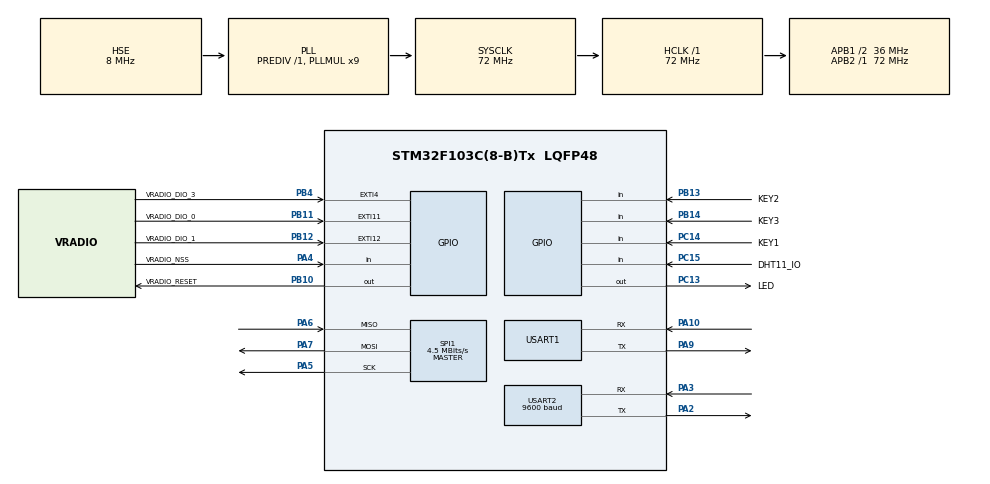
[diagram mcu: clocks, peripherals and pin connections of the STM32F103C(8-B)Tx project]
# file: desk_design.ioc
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Dma.Request0=USART2_RX
Dma.USART2_RX.0.Direction=DMA_PERIPH_TO_MEMORY
Dma.USART2_RX.0.Instance=DMA1_Channel6
Dma.USART2_RX.0.MemDataAlignment=DMA_MDATAALIGN_BYTE
Dma.USART2_RX.0.MemInc=DMA_MINC_ENABLE
Dma.USART2_RX.0.Mode=DMA_NORMAL
Dma.USART2_RX.0.PeriphDataAlignment=DMA_PDATAALIGN_BYTE
Dma.USART2_RX.0.PeriphInc=DMA_PINC_DISABLE
Dma.USART2_RX.0.Priority=DMA_PRIORITY_LOW
Mcu.Family=STM32F1
Mcu.Name=STM32F103C(8-B)Tx
Mcu.Package=LQFP48
NVIC.DMA1_Channel6_IRQn=true\:0\:0\:false\:false\:true\:false\:true\:true
NVIC.EXTI15_10_IRQn=true\:0\:0\:false\:false\:true\:true\:true\:true
NVIC.PriorityGroup=NVIC_PRIORITYGROUP_1
NVIC.TIM4_IRQn=true\:0\:0\:false\:false\:true\:true\:true\:true
NVIC.USART1_IRQn=true\:0\:0\:false\:false\:true\:false\:true\:true
NVIC.USART2_IRQn=true\:0\:0\:false\:false\:true\:true\:true\:true
PA10.Mode=Asynchronous
PA10.Signal=USART1_RX
PA13.Mode=Serial_Wire
PA13.Signal=SYS_JTMS-SWDIO
PA14.Mode=Serial_Wire
PA14.Signal=SYS_JTCK-SWCLK
PA2.Mode=Asynchronous
PA2.Signal=USART2_TX
PA3.Mode=Asynchronous
PA3.Signal=USART2_RX
PA4.GPIO_Label=VRADIO_NSS
PA4.Signal=GPIO_Input
PA5.Mode=Full_Duplex_Master
PA5.Signal=SPI1_SCK
PA6.Mode=Full_Duplex_Master
PA6.Signal=SPI1_MISO
PA7.Mode=Full_Duplex_Master
PA7.Signal=SPI1_MOSI
PA9.Mode=Asynchronous
PA9.Signal=USART1_TX
PB10.GPIO_Label=VRADIO_RESET
PB10.Signal=GPIO_Output
PB11.GPIO_Label=VRADIO_DIO_0
PB11.Signal=GPXTI11
PB12.GPIO_Label=VRADIO_DIO_1
PB12.Signal=GPXTI12
PB13.GPIO_Label=KEY2
PB13.Signal=GPIO_Input
PB14.GPIO_Label=KEY3
PB14.Signal=GPIO_Input
PB4.GPIO_Label=VRADIO_DIO_3
PB4.Signal=GPXTI4
PC13-TAMPER-RTC.GPIO_Label=LED
PC13-TAMPER-RTC.Signal=GPIO_Output
PC14-OSC32_IN.GPIO_Label=KEY1
PC14-OSC32_IN.GPIO_PuPd=GPIO_PULLUP
PC14-OSC32_IN.Signal=GPIO_Input
PC15-OSC32_OUT.GPIO_Label=DHT11_IO
PC15-OSC32_OUT.GPIO_PuPd=GPIO_PULLUP
PC15-OSC32_OUT.Signal=GPIO_Input
PD0-OSC_IN.Mode=HSE-External-Oscillator
PD0-OSC_IN.Signal=RCC_OSC_IN
PD1-OSC_OUT.Mode=HSE-External-Oscillator
PD1-OSC_OUT.Signal=RCC_OSC_OUT
ProjectManager.HeapSize=0x200
ProjectManager.StackSize=0x400
ProjectManager.TargetToolchain=MDK-ARM V5.32
RCC.AHBFreq_Value=72000000
RCC.APB1CLKDivider=RCC_HCLK_DIV2
RCC.APB1Freq_Value=36000000
RCC.APB1TimFreq_Value=72000000
RCC.APB2Freq_Value=72000000
RCC.APB2TimFreq_Value=72000000
RCC.HCLKFreq_Value=72000000
RCC.PLLMUL=RCC_PLL_MUL9
RCC.PLLSourceVirtual=RCC_PLLSOURCE_HSE
RCC.SYSCLKFreq_VALUE=72000000
RCC.SYSCLKSource=RCC_SYSCLKSOURCE_PLLCLK
RCC.USBFreq_Value=72000000
SPI1.BaudRatePrescaler=SPI_BAUDRATEPRESCALER_16
SPI1.CalculateBaudRate=4.5 MBits/s
SPI1.Direction=SPI_DIRECTION_2LINES
SPI1.Mode=SPI_MODE_MASTER
SPI1.VirtualType=VM_MASTER
TIM4.Prescaler=71
USART1.VirtualMode=VM_ASYNC
USART2.BaudRate=9600
USART2.VirtualMode=VM_ASYNC
VP_TIM4_VS_ClockSourceINT.Mode=Internal
board=custom

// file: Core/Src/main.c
/* USER CODE BEGIN Header */
/**
  ******************************************************************************
  * @file           : main.c
  * @brief          : Main program body
  ******************************************************************************
  * @attention
  *
  * Copyright (c) 2024 STMicroelectronics.
  * All rights reserved.
  *
  * This software is licensed under terms that can be found in the LICENSE file
  * in the root directory of this software component.
  * If no LICENSE file comes with this software, it is provided AS-IS.
  *
  ******************************************************************************
  */
/* USER CODE END Header */
#include "main.h"

/* USER CODE BEGIN Includes */
#include <stdio.h>
#include "elog.h"
#include "vMsgExec.h"
#include "dyn_mem.h"
#include "app.h"
/* USER CODE END Includes */

SPI_HandleTypeDef hspi1;

TIM_HandleTypeDef htim4;

UART_HandleTypeDef huart1;
UART_HandleTypeDef huart2;
DMA_HandleTypeDef hdma_usart2_rx;

void SystemClock_Config(void);
static void MX_GPIO_Init(void);
static void MX_DMA_Init(void);
static void MX_USART1_UART_Init(void);
static void MX_TIM4_Init(void);
static void MX_USART2_UART_Init(void);
static void MX_SPI1_Init(void);

/* USER CODE BEGIN 0 */
extern uint32_t os_time;
uint32_t HAL_GetTick(void){
    return os_time;
}

int fputc(int ch,FILE *f)
{
    HAL_UART_Transmit(&huart1,(uint8_t *)&ch,1,HAL_MAX_DELAY);
    return ch;
}

/* USER CODE END 0 */

int main(void)
{

    /* MCU Configuration--------------------------------------------------------*/

    /* Reset of all peripherals, Initializes the Flash interface and the Systick. */
    HAL_Init();

    /* Configure the system clock */
    SystemClock_Config();

    /* Initialize all configured peripherals */
    MX_GPIO_Init();
    MX_DMA_Init();
    MX_USART1_UART_Init();
    MX_TIM4_Init();
    MX_USART2_UART_Init();
    MX_SPI1_Init();
    /* USER CODE BEGIN 2 */
    elog_init();
    elog_set_fmt(ELOG_LVL_ASSERT,ELOG_FMT_ALL);
    elog_set_fmt(ELOG_LVL_ERROR,ELOG_FMT_LVL|ELOG_FMT_TAG);
    elog_set_fmt(ELOG_LVL_WARN,ELOG_FMT_LVL|ELOG_FMT_TAG);
    elog_set_fmt(ELOG_LVL_INFO,ELOG_FMT_LVL|ELOG_FMT_TAG);
    elog_set_fmt(ELOG_LVL_DEBUG,ELOG_FMT_ALL&~ELOG_FMT_FUNC);
    elog_set_fmt(ELOG_LVL_VERBOSE,ELOG_FMT_ALL&~ELOG_FMT_FUNC);
    elog_start();

    dm_init();
    MsgExec_Init();
    VWM_TimerInit();
    log_i("Wireless Access System Init OK!");

    app_init();

    osKernelStart();
    /* USER CODE END 2 */

    /* Infinite loop */
    /* USER CODE BEGIN WHILE */
    while (1)
    {
        MsgExec_Exec();
        /* USER CODE END WHILE */

    }
}

void SystemClock_Config(void)
{
    RCC_OscInitTypeDef RCC_OscInitStruct = {0};
    RCC_ClkInitTypeDef RCC_ClkInitStruct = {0};

    /** Initializes the RCC Oscillators according to the specified parameters
    * in the RCC_OscInitTypeDef structure.
    */
    RCC_OscInitStruct.OscillatorType = RCC_OSCILLATORTYPE_HSE;
    RCC_OscInitStruct.HSEState = RCC_HSE_ON;
    RCC_OscInitStruct.HSEPredivValue = RCC_HSE_PREDIV_DIV1;
    RCC_OscInitStruct.HSIState = RCC_HSI_ON;
    RCC_OscInitStruct.PLL.PLLState = RCC_PLL_ON;
    RCC_OscInitStruct.PLL.PLLSource = RCC_PLLSOURCE_HSE;
    RCC_OscInitStruct.PLL.PLLMUL = RCC_PLL_MUL9;
    if (HAL_RCC_OscConfig(&RCC_OscInitStruct) != HAL_OK)
    {
        Error_Handler();
    }

    /** Initializes the CPU, AHB and APB buses clocks
    */
    RCC_ClkInitStruct.ClockType = RCC_CLOCKTYPE_HCLK|RCC_CLOCKTYPE_SYSCLK
                                  |RCC_CLOCKTYPE_PCLK1|RCC_CLOCKTYPE_PCLK2;
    RCC_ClkInitStruct.SYSCLKSource = RCC_SYSCLKSOURCE_PLLCLK;
    RCC_ClkInitStruct.AHBCLKDivider = RCC_SYSCLK_DIV1;
    RCC_ClkInitStruct.APB1CLKDivider = RCC_HCLK_DIV2;
    RCC_ClkInitStruct.APB2CLKDivider = RCC_HCLK_DIV1;

    if (HAL_RCC_ClockConfig(&RCC_ClkInitStruct, FLASH_LATENCY_2) != HAL_OK)
    {
        Error_Handler();
    }
}

static void MX_SPI1_Init(void)
{

    /* SPI1 parameter configuration*/
    hspi1.Instance = SPI1;
    hspi1.Init.Mode = SPI_MODE_MASTER;
    hspi1.Init.Direction = SPI_DIRECTION_2LINES;
    hspi1.Init.DataSize = SPI_DATASIZE_8BIT;
    hspi1.Init.CLKPolarity = SPI_POLARITY_LOW;
    hspi1.Init.CLKPhase = SPI_PHASE_1EDGE;
    hspi1.Init.NSS = SPI_NSS_SOFT;
    hspi1.Init.BaudRatePrescaler = SPI_BAUDRATEPRESCALER_16;
    hspi1.Init.FirstBit = SPI_FIRSTBIT_MSB;
    hspi1.Init.TIMode = SPI_TIMODE_DISABLE;
    hspi1.Init.CRCCalculation = SPI_CRCCALCULATION_DISABLE;
    hspi1.Init.CRCPolynomial = 10;
    if (HAL_SPI_Init(&hspi1) != HAL_OK)
    {
        Error_Handler();
    }

}

static void MX_TIM4_Init(void)
{

    TIM_ClockConfigTypeDef sClockSourceConfig = {0};
    TIM_MasterConfigTypeDef sMasterConfig = {0};

    htim4.Instance = TIM4;
    htim4.Init.Prescaler = 71;
    htim4.Init.CounterMode = TIM_COUNTERMODE_UP;
    htim4.Init.Period = 65535;
    htim4.Init.ClockDivision = TIM_CLOCKDIVISION_DIV1;
    htim4.Init.AutoReloadPreload = TIM_AUTORELOAD_PRELOAD_DISABLE;
    if (HAL_TIM_Base_Init(&htim4) != HAL_OK)
    {
        Error_Handler();
    }
    sClockSourceConfig.ClockSource = TIM_CLOCKSOURCE_INTERNAL;
    if (HAL_TIM_ConfigClockSource(&htim4, &sClockSourceConfig) != HAL_OK)
    {
        Error_Handler();
    }
    sMasterConfig.MasterOutputTrigger = TIM_TRGO_RESET;
    sMasterConfig.MasterSlaveMode = TIM_MASTERSLAVEMODE_DISABLE;
    if (HAL_TIMEx_MasterConfigSynchronization(&htim4, &sMasterConfig) != HAL_OK)
    {
        Error_Handler();
    }

}

static void MX_USART1_UART_Init(void)
{

    huart1.Instance = USART1;
    huart1.Init.BaudRate = 115200;
    huart1.Init.WordLength = UART_WORDLENGTH_8B;
    huart1.Init.StopBits = UART_STOPBITS_1;
    huart1.Init.Parity = UART_PARITY_NONE;
    huart1.Init.Mode = UART_MODE_TX_RX;
    huart1.Init.HwFlowCtl = UART_HWCONTROL_NONE;
    huart1.Init.OverSampling = UART_OVERSAMPLING_16;
    if (HAL_UART_Init(&huart1) != HAL_OK)
    {
        Error_Handler();
    }

}

static void MX_USART2_UART_Init(void)
{

    huart2.Instance = USART2;
    huart2.Init.BaudRate = 9600;
    huart2.Init.WordLength = UART_WORDLENGTH_8B;
    huart2.Init.StopBits = UART_STOPBITS_1;
    huart2.Init.Parity = UART_PARITY_NONE;
    huart2.Init.Mode = UART_MODE_TX_RX;
    huart2.Init.HwFlowCtl = UART_HWCONTROL_NONE;
    huart2.Init.OverSampling = UART_OVERSAMPLING_16;
    if (HAL_UART_Init(&huart2) != HAL_OK)
    {
        Error_Handler();
    }

}

static void MX_DMA_Init(void)
{

    /* DMA controller clock enable */
    __HAL_RCC_DMA1_CLK_ENABLE();

    /* DMA interrupt init */
    /* DMA1_Channel6_IRQn interrupt configuration */
    HAL_NVIC_SetPriority(DMA1_Channel6_IRQn, 0, 0);
    HAL_NVIC_EnableIRQ(DMA1_Channel6_IRQn);

}

static void MX_GPIO_Init(void)
{
    GPIO_InitTypeDef GPIO_InitStruct = {0};

    /* GPIO Ports Clock Enable */
    __HAL_RCC_GPIOC_CLK_ENABLE();
    __HAL_RCC_GPIOD_CLK_ENABLE();
    __HAL_RCC_GPIOA_CLK_ENABLE();
    __HAL_RCC_GPIOB_CLK_ENABLE();

    /*Configure GPIO pin Output Level */
    HAL_GPIO_WritePin(LED_GPIO_Port, LED_Pin, GPIO_PIN_SET);

    /*Configure GPIO pin Output Level */
    HAL_GPIO_WritePin(VRADIO_NSS_GPIO_Port, VRADIO_NSS_Pin, GPIO_PIN_RESET);

    /*Configure GPIO pin Output Level */
    HAL_GPIO_WritePin(VRADIO_RESET_GPIO_Port, VRADIO_RESET_Pin, GPIO_PIN_RESET);

    /*Configure GPIO pin : LED_Pin */
    GPIO_InitStruct.Pin = LED_Pin;
    GPIO_InitStruct.Mode = GPIO_MODE_OUTPUT_PP;
    GPIO_InitStruct.Pull = GPIO_NOPULL;
    GPIO_InitStruct.Speed = GPIO_SPEED_FREQ_LOW;
    HAL_GPIO_Init(LED_GPIO_Port, &GPIO_InitStruct);

    /*Configure GPIO pin : DHT11_IO_Pin */
    GPIO_InitStruct.Pin = DHT11_IO_Pin;
    GPIO_InitStruct.Mode = GPIO_MODE_INPUT;
    GPIO_InitStruct.Pull = GPIO_PULLUP;
    HAL_GPIO_Init(DHT11_IO_GPIO_Port, &GPIO_InitStruct);

    /*Configure GPIO pin : VRADIO_NSS_Pin */
    GPIO_InitStruct.Pin = VRADIO_NSS_Pin;
    GPIO_InitStruct.Mode = GPIO_MODE_OUTPUT_PP;
    GPIO_InitStruct.Pull = GPIO_NOPULL;
    GPIO_InitStruct.Speed = GPIO_SPEED_FREQ_LOW;
    HAL_GPIO_Init(VRADIO_NSS_GPIO_Port, &GPIO_InitStruct);

    /*Configure GPIO pin : VRADIO_RESET_Pin */
    GPIO_InitStruct.Pin = VRADIO_RESET_Pin;
    GPIO_InitStruct.Mode = GPIO_MODE_OUTPUT_PP;
    GPIO_InitStruct.Pull = GPIO_NOPULL;
    GPIO_InitStruct.Speed = GPIO_SPEED_FREQ_LOW;
    HAL_GPIO_Init(VRADIO_RESET_GPIO_Port, &GPIO_InitStruct);

    /*Configure GPIO pins : VRADIO_DIO_0_Pin VRADIO_DIO_1_Pin VRADIO_DIO_3_Pin */
    GPIO_InitStruct.Pin = VRADIO_DIO_0_Pin|VRADIO_DIO_1_Pin|VRADIO_DIO_3_Pin;
    GPIO_InitStruct.Mode = GPIO_MODE_IT_RISING;
    GPIO_InitStruct.Pull = GPIO_NOPULL;
    HAL_GPIO_Init(GPIOB, &GPIO_InitStruct);

    /*Configure GPIO pins : KEY2_Pin KEY1_Pin */
    GPIO_InitStruct.Pin = KEY2_Pin|KEY1_Pin;
    GPIO_InitStruct.Mode = GPIO_MODE_INPUT;
    GPIO_InitStruct.Pull = GPIO_PULLUP;
    HAL_GPIO_Init(GPIOB, &GPIO_InitStruct);

    /* EXTI interrupt init*/
    HAL_NVIC_SetPriority(EXTI15_10_IRQn, 0, 0);
    HAL_NVIC_EnableIRQ(EXTI15_10_IRQn);

}

void Error_Handler(void)
{
    __disable_irq();
    while (1)
    {
    }
}
